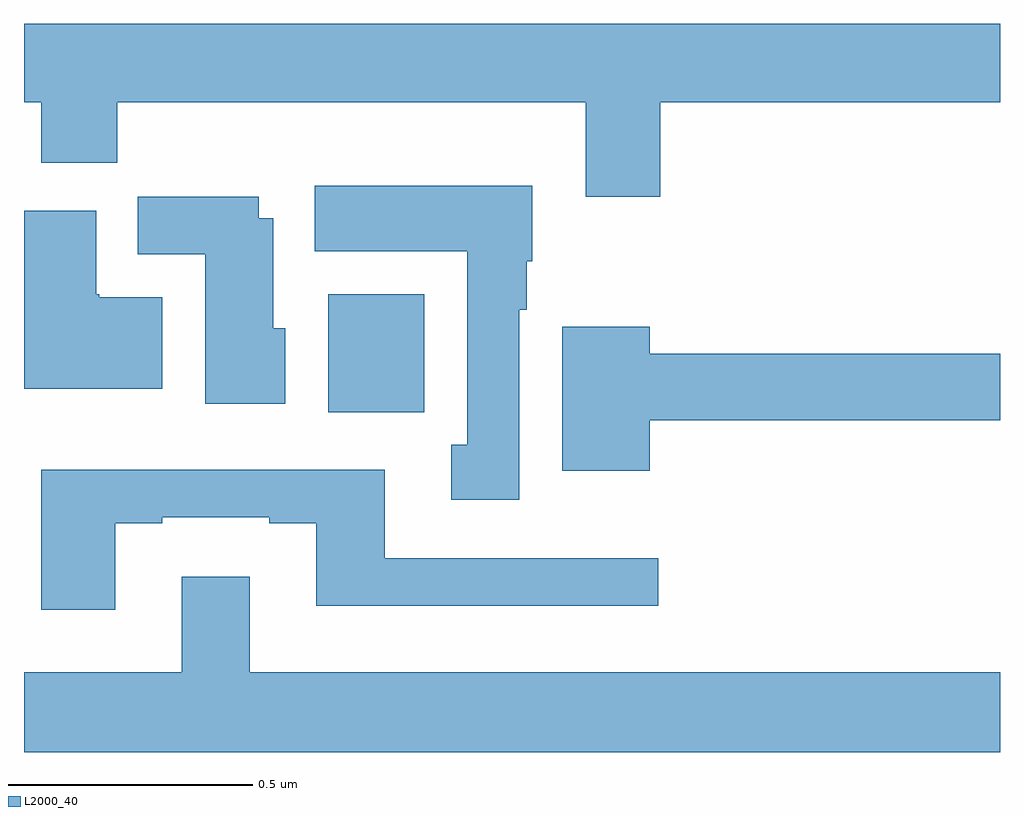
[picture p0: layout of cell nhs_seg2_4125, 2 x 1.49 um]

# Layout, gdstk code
import gdstk
lib = gdstk.Library(unit=1e-6, precision=1e-09)
def R(c, l, rs):  # rectangles x0, y0, x1, y1
    for r in rs: c.add(gdstk.rectangle(r[:2], r[2:], *l))
def P(c, l, *ps):  # polygons
    for p in ps: c.add(gdstk.Polygon(p, *l))
L2000_40 = (2000, 40)

nhs_seg2_4125 = lib.new_cell('nhs_seg2_4125')
R(nhs_seg2_4125, L2000_40, [(162.623,643.004,162.82,643.246)])
P(nhs_seg2_4125, L2000_40, [(163.304,643.64),(164,643.64),(164,643.8),(162,643.8),(162,643.64),(162.035,643.64),(162.035,643.516),(162.191,643.516),(162.191,643.64),(163.151,643.64),(163.151,643.446),(163.304,643.446)],
  [(163.015,643.214),(163.03,643.214),(163.03,643.314),(163.042,643.314),(163.042,643.468),(162.596,643.468),(162.596,643.334),(162.908,643.334),(162.908,642.938),(162.875,642.938),(162.875,642.825),(163.015,642.825)],
  [(162.535,643.176),(162.511,643.176),(162.511,643.402),(162.481,643.402),(162.481,643.446),(162.233,643.446),(162.233,643.328),(162.371,643.328),(162.371,643.022),(162.535,643.022)],
  [(162.283,643.24),(162.154,643.24),(162.154,643.246),(162.148,643.246),(162.148,643.417),(162,643.417),(162,643.052),(162.283,643.052)],
  [(163.282,642.988),(164,642.988),(164,643.124),(163.282,643.124),(163.282,643.18),(163.103,643.18),(163.103,642.884),(163.282,642.884)],
  [(162.187,642.777),(162.283,642.777),(162.283,642.789),(162.503,642.789),(162.503,642.777),(162.599,642.777),(162.599,642.608),(163.3,642.608),(163.3,642.705),(162.739,642.705),(162.739,642.886),(162.035,642.886),(162.035,642.6),(162.187,642.6)],
  [(164,642.472),(162.463,642.472),(162.463,642.667),(162.323,642.667),(162.323,642.472),(162,642.472),(162,642.308),(164,642.308)])

lib.write_gds('nhs_seg2_4125.gds')
